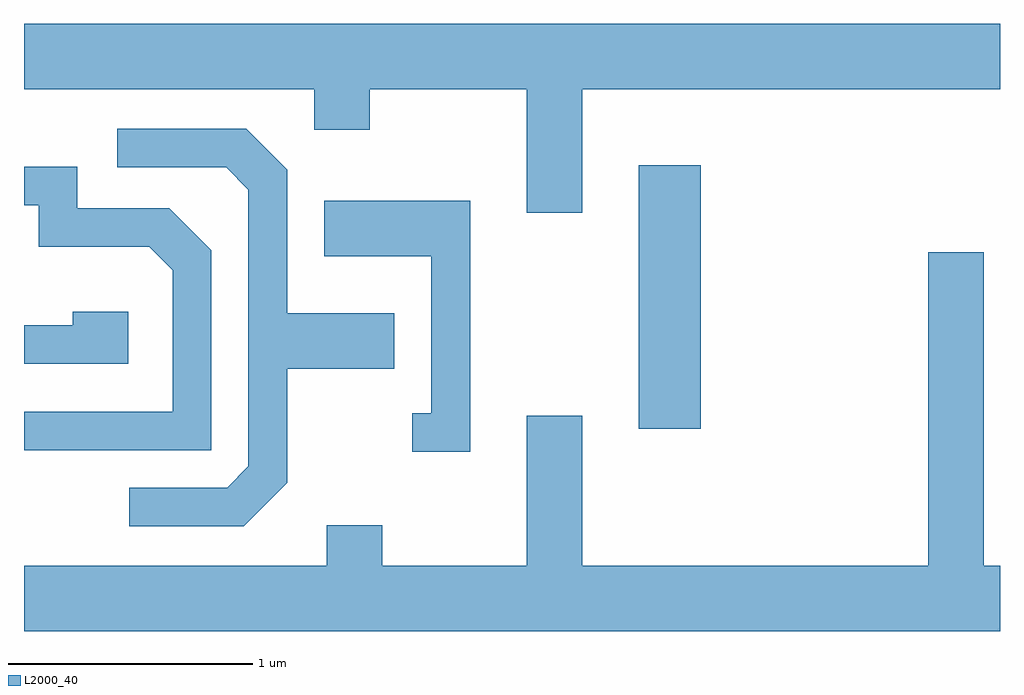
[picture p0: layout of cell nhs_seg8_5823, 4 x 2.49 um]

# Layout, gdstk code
import gdstk
lib = gdstk.Library(unit=1e-6, precision=1e-09)
def R(c, l, rs):  # rectangles x0, y0, x1, y1
    for r in rs: c.add(gdstk.rectangle(r[:2], r[2:], *l))
def P(c, l, *ps):  # polygons
    for p in ps: c.add(gdstk.Polygon(p, *l))
L2000_40 = (2000, 40)

nhs_seg8_5823 = lib.new_cell('nhs_seg8_5823')
R(nhs_seg8_5823, L2000_40, [(362.131,1861.666,362.384,1862.744)])
P(nhs_seg8_5823, L2000_40, [(361.899,1863.056),(363.611,1863.056),(363.611,1863.324),(359.611,1863.324),(359.611,1863.056),(360.801,1863.056),(360.801,1862.891),(361.029,1862.891),(361.029,1863.056),(361.671,1863.056),(361.671,1862.551),(361.899,1862.551)],
  [(360.689,1861.444),(360.689,1861.911),(361.129,1861.911),(361.129,1862.139),(360.689,1862.139),(360.689,1862.727),(360.522,1862.894),(359.993,1862.894),(359.993,1862.736),(360.439,1862.736),(360.531,1862.644),(360.531,1861.512),(360.444,1861.424),(360.043,1861.424),(360.043,1861.266),(360.512,1861.266)],
  [(360.379,1862.397),(360.207,1862.569),(359.829,1862.569),(359.829,1862.739),(359.611,1862.739),(359.611,1862.581),(359.671,1862.581),(359.671,1862.411),(360.124,1862.411),(360.221,1862.314),(360.221,1861.734),(359.611,1861.734),(359.611,1861.576),(360.379,1861.576)],
  [(361.439,1862.599),(360.841,1862.599),(360.841,1862.371),(361.281,1862.371),(361.281,1861.729),(361.203,1861.729),(361.203,1861.571),(361.439,1861.571)],
  [(363.611,1861.104),(363.544,1861.104),(363.544,1862.389),(363.316,1862.389),(363.316,1861.104),(361.899,1861.104),(361.899,1861.719),(361.671,1861.719),(361.671,1861.104),(361.079,1861.104),(361.079,1861.269),(360.851,1861.269),(360.851,1861.104),(359.611,1861.104),(359.611,1860.836),(363.611,1860.836)],
  [(360.039,1862.144),(359.811,1862.144),(359.811,1862.089),(359.611,1862.089),(359.611,1861.931),(360.039,1861.931)])

lib.write_gds('nhs_seg8_5823.gds')
